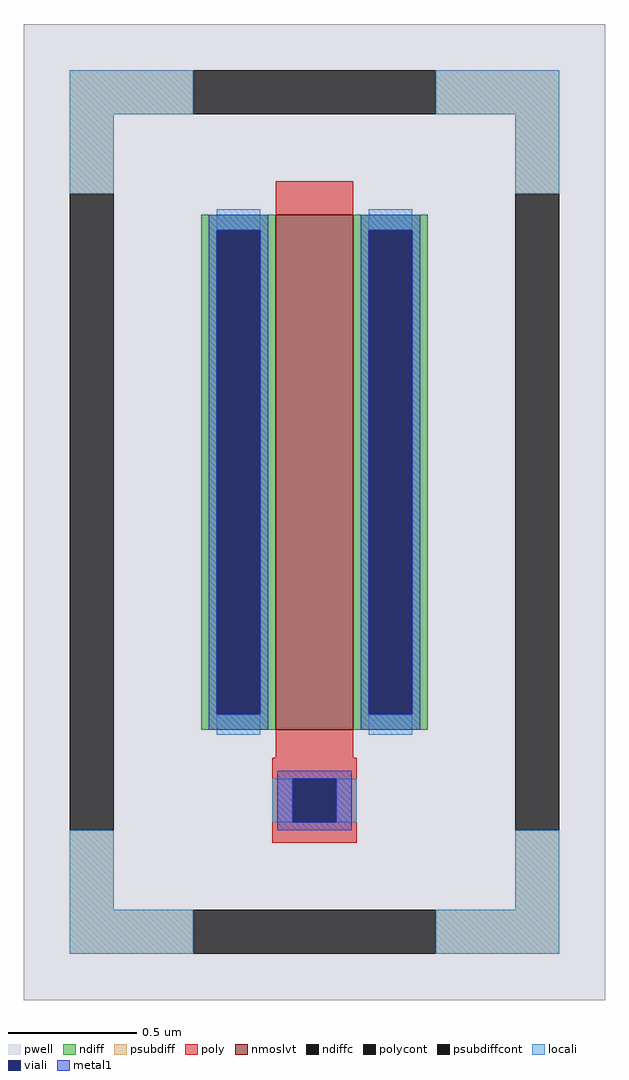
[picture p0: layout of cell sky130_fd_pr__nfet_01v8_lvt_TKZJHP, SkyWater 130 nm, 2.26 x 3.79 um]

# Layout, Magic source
magic
tech sky130A
magscale 1 2
<< pwell >>
rect -226 -379 226 379
<< nmoslvt >>
rect -30 -169 30 231
<< ndiff >>
rect -88 219 -30 231
rect -88 -157 -76 219
rect -42 -157 -30 219
rect -88 -169 -30 -157
rect 30 219 88 231
rect 30 -157 42 219
rect 76 -157 88 219
rect 30 -169 88 -157
<< ndiffc >>
rect -76 -157 -42 219
rect 42 -157 76 219
<< psubdiff >>
rect -190 309 -94 343
rect 94 309 190 343
rect -190 247 -156 309
rect 156 247 190 309
rect -190 -309 -156 -247
rect 156 -309 190 -247
rect -190 -343 -94 -309
rect 94 -343 190 -309
<< psubdiffcont >>
rect -94 309 94 343
rect -190 -247 -156 247
rect 156 -247 190 247
rect -94 -343 94 -309
<< poly >>
rect -30 231 30 257
rect -30 -191 30 -169
rect -33 -207 33 -191
rect -33 -241 -17 -207
rect 17 -241 33 -207
rect -33 -257 33 -241
<< polycont >>
rect -17 -241 17 -207
<< locali >>
rect -190 309 -94 343
rect 94 309 190 343
rect -190 247 -156 309
rect 156 247 190 309
rect -76 219 -42 235
rect -76 -173 -42 -157
rect 42 219 76 235
rect 42 -173 76 -157
rect -33 -241 -17 -207
rect 17 -241 33 -207
rect -190 -309 -156 -247
rect 156 -309 190 -247
rect -190 -343 -94 -309
rect 94 -343 190 -309
<< viali >>
rect -76 -157 -42 219
rect 42 -157 76 219
rect -17 -241 17 -207
<< metal1 >>
rect -82 219 -36 231
rect -82 -157 -76 219
rect -42 -157 -36 219
rect -82 -169 -36 -157
rect 36 219 82 231
rect 36 -157 42 219
rect 76 -157 82 219
rect 36 -169 82 -157
rect -29 -207 29 -201
rect -29 -241 -17 -207
rect 17 -241 29 -207
rect -29 -247 29 -241
<< properties >>
string FIXED_BBOX -173 -326 173 326
string gencell sky130_fd_pr__nfet_01v8_lvt
string library sky130
string parameters w 2 l 0.3 m 1 nf 1 diffcov 100 polycov 100 guard 1 glc 1 grc 1 gtc 1 gbc 1 tbcov 100 rlcov 100 topc 0 botc 1 poverlap 0 doverlap 1 lmin 0.15 wmin 0.42 compatible {sky130_fd_pr__nfet_01v8 sky130_fd_pr__nfet_01v8_lvt  sky130_fd_bs_flash__special_sonosfet_star  sky130_fd_pr__nfet_g5v0d10v5 sky130_fd_pr__nfet_05v0_nvt  sky130_fd_pr__nfet_03v3_nvt} full_metal 1 viasrc 100 viadrn 100 viagate 100 viagb 0 viagr 0 viagl 0 viagt 0
<< end >>
